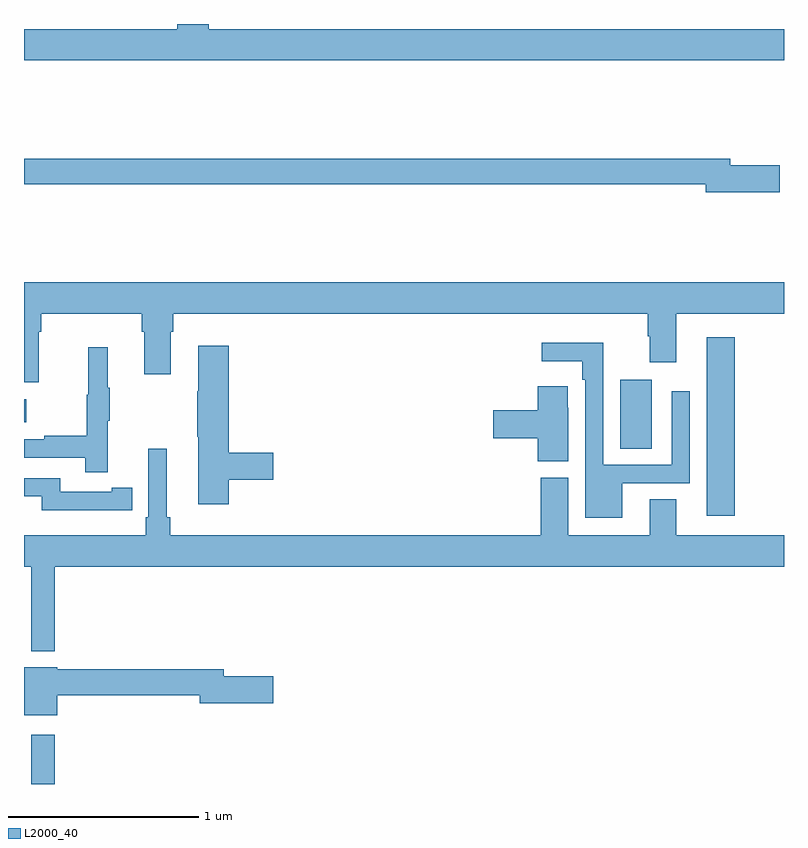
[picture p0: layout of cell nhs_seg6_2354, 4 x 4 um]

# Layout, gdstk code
import gdstk
lib = gdstk.Library(unit=1e-6, precision=1e-09)
def R(c, l, rs):  # rectangles x0, y0, x1, y1
    for r in rs: c.add(gdstk.rectangle(r[:2], r[2:], *l))
def P(c, l, *ps):  # polygons
    for p in ps: c.add(gdstk.Polygon(p, *l))
L2000_40 = (2000, 40)

nhs_seg6_2354 = lib.new_cell('nhs_seg6_2354')
R(nhs_seg6_2354, L2000_40, [(251.039,971.5,251.161,971.758), (254.594,972.912,254.741,973.852), (254.138,973.264,254.305,973.627), (251,973.403,251.011,973.525)])
P(nhs_seg6_2354, L2000_40, [(255,975.472),(251.972,975.472),(251.972,975.5),(251.807,975.5),(251.807,975.472),(251,975.472),(251,975.308),(255,975.308)],
  [(254.977,974.756),(254.716,974.756),(254.716,974.792),(251,974.792),(251,974.656),(254.588,974.656),(254.588,974.614),(254.977,974.614)],
  [(251,973.614),(251.077,973.614),(251.077,973.88),(251.09,973.88),(251.09,973.976),(251.621,973.976),(251.621,973.88),(251.633,973.88),(251.633,973.656),(251.773,973.656),(251.773,973.88),(251.786,973.88),(251.786,973.976),(254.282,973.976),(254.282,973.856),(254.294,973.856),(254.294,973.719),(254.434,973.719),(254.434,973.976),(255,973.976),(255,974.14),(251,974.14)],
  [(254.149,973.083),(254.505,973.083),(254.505,973.567),(254.409,973.567),(254.409,973.179),(254.049,973.179),(254.049,973.822),(253.725,973.822),(253.725,973.724),(253.937,973.724),(253.937,973.628),(253.953,973.628),(253.953,972.902),(254.149,972.902)],
  [(252.077,973.102),(252.313,973.102),(252.313,973.244),(252.077,973.244),(252.077,973.807),(251.918,973.807),(251.918,973.568),(251.911,973.568),(251.911,973.327),(251.918,973.327),(251.918,972.972),(252.077,972.972)],
  [(251.441,973.411),(251.452,973.411),(251.452,973.585),(251.441,973.585),(251.441,973.798),(251.338,973.798),(251.338,973.548),(251.331,973.548),(251.331,973.334),(251.107,973.334),(251.107,973.314),(251,973.314),(251,973.218),(251.323,973.218),(251.323,973.14),(251.441,973.14)],
  [(253.864,973.481),(253.863,973.481),(253.863,973.594),(253.703,973.594),(253.703,973.466),(253.47,973.466),(253.47,973.319),(253.703,973.319),(253.703,973.198),(253.864,973.198)],
  [(255,972.808),(254.434,972.808),(254.434,972.998),(254.294,972.998),(254.294,972.808),(253.864,972.808),(253.864,973.113),(253.721,973.113),(253.721,972.808),(251.771,972.808),(251.771,972.904),(251.752,972.904),(251.752,973.264),(251.655,973.264),(251.655,972.904),(251.642,972.904),(251.642,972.808),(251,972.808),(251,972.644),(251.039,972.644),(251.039,972.2),(251.161,972.2),(251.161,972.644),(255,972.644)],
  [(251.462,972.942),(251.57,972.942),(251.57,973.058),(251.462,973.058),(251.462,973.038),(251.19,973.038),(251.19,973.11),(251,973.11),(251,973.014),(251.094,973.014),(251.094,972.941),(251.462,972.941)],
  [(251.176,971.968),(251.924,971.968),(251.924,971.926),(252.313,971.926),(252.313,972.068),(252.052,972.068),(252.052,972.104),(251.176,972.104),(251.176,972.115),(251,972.115),(251,971.861),(251.176,971.861)])

lib.write_gds('nhs_seg6_2354.gds')
